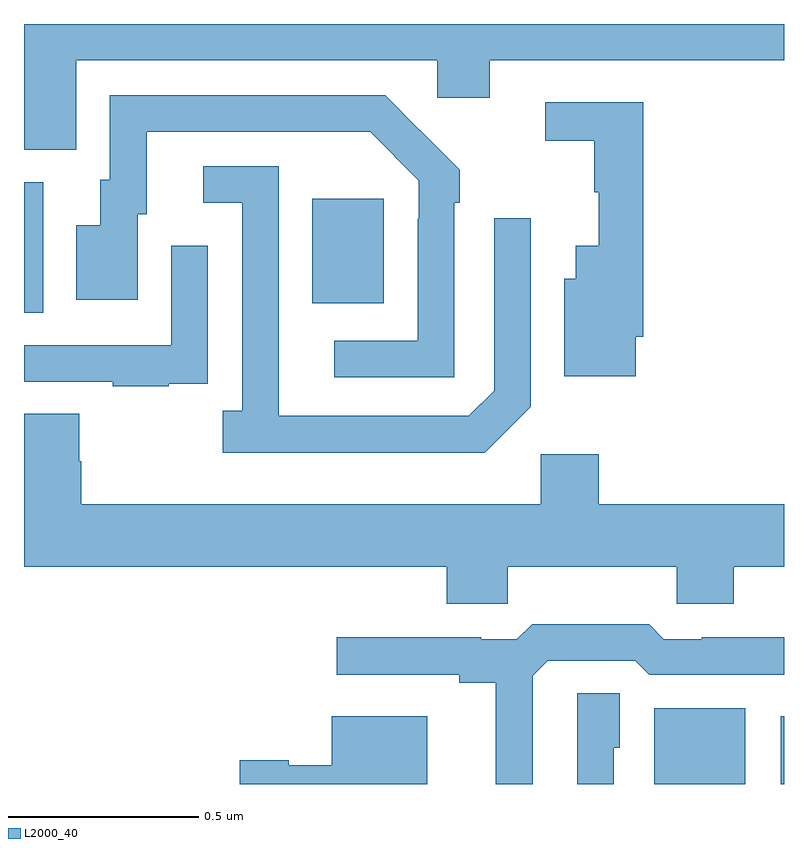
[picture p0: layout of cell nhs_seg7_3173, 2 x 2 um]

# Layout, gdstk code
import gdstk
lib = gdstk.Library(unit=1e-6, precision=1e-09)
def R(c, l, rs):  # rectangles x0, y0, x1, y1
    for r in rs: c.add(gdstk.rectangle(r[:2], r[2:], *l))
def P(c, l, *ps):  # polygons
    for p in ps: c.add(gdstk.Polygon(p, *l))
L2000_40 = (2000, 40)

nhs_seg7_3173 = lib.new_cell('nhs_seg7_3173')
R(nhs_seg7_3173, L2000_40, [(156.659,1044,156.898,1044.199), (156.992,1044,157,1044.178), (155,1045.24,155.05,1045.584), (155.759,1045.265,155.947,1045.54)])
P(nhs_seg7_3173, L2000_40, [(155.137,1045.904),(156.087,1045.904),(156.087,1045.806),(156.226,1045.806),(156.226,1045.904),(157,1045.904),(157,1046),(155,1046),(155,1045.669),(155.137,1045.669)],
  [(156.132,1045.529),(156.147,1045.529),(156.147,1045.617),(156.042,1045.722),(156.041,1045.721),(155.95,1045.812),(155.226,1045.812),(155.226,1045.59),(155.201,1045.59),(155.201,1045.471),(155.138,1045.471),(155.138,1045.275),(155.299,1045.275),(155.299,1045.5),(155.323,1045.5),(155.323,1045.716),(155.911,1045.716),(156.039,1045.587),(156.039,1045.487),(156.036,1045.487),(156.036,1045.167),(155.817,1045.167),(155.817,1045.071),(156.132,1045.071)],
  [(156.61,1045.177),(156.629,1045.177),(156.629,1045.794),(156.372,1045.794),(156.372,1045.693),(156.501,1045.693),(156.501,1045.557),(156.512,1045.557),(156.512,1045.417),(156.452,1045.417),(156.452,1045.33),(156.422,1045.33),(156.422,1045.073),(156.61,1045.073)],
  [(156.333,1044.993),(156.333,1045.489),(156.237,1045.489),(156.237,1045.035),(156.171,1044.969),(155.671,1044.969),(155.671,1045.169),(155.67,1045.169),(155.67,1045.626),(155.472,1045.626),(155.472,1045.53),(155.574,1045.53),(155.574,1044.982),(155.523,1044.982),(155.523,1044.872),(156.212,1044.872)],
  [(155.381,1045.053),(155.483,1045.053),(155.483,1045.162),(155.484,1045.162),(155.484,1045.417),(155.388,1045.417),(155.388,1045.155),(155,1045.155),(155,1045.059),(155.233,1045.059),(155.233,1045.047),(155.381,1045.047)],
  [(156.273,1044.572),(156.718,1044.572),(156.718,1044.474),(156.868,1044.474),(156.868,1044.572),(157,1044.572),(157,1044.736),(156.512,1044.736),(156.512,1044.868),(156.36,1044.868),(156.36,1044.736),(155.15,1044.736),(155.15,1044.849),(155.145,1044.849),(155.145,1044.974),(155,1044.974),(155,1044.572),(156.113,1044.572),(156.113,1044.474),(156.273,1044.474)],
  [(156.339,1044.285),(156.378,1044.324),(156.609,1044.324),(156.645,1044.288),(157,1044.288),(157,1044.386),(156.784,1044.386),(156.784,1044.381),(156.684,1044.381),(156.645,1044.421),(156.337,1044.421),(156.297,1044.381),(156.203,1044.381),(156.203,1044.386),(155.823,1044.386),(155.823,1044.288),(156.146,1044.288),(156.146,1044.266),(156.242,1044.266),(156.242,1044),(156.339,1044)],
  [(156.552,1044.096),(156.568,1044.096),(156.568,1044.239),(156.456,1044.239),(156.456,1044),(156.552,1044)],
  [(156.061,1044.178),(155.81,1044.178),(155.81,1044.049),(155.697,1044.049),(155.697,1044.062),(155.568,1044.062),(155.568,1044),(156.061,1044)])

lib.write_gds('nhs_seg7_3173.gds')
